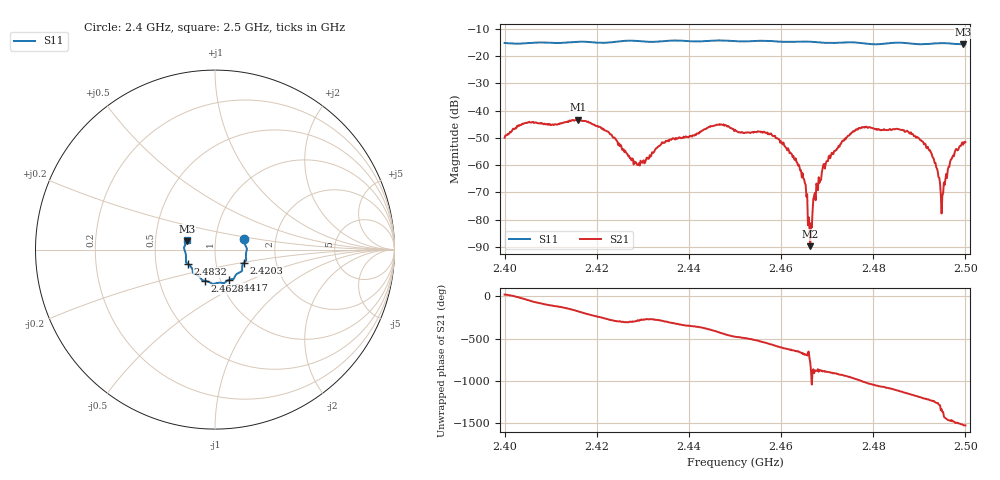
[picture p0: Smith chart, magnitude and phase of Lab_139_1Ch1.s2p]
# Hz S RI R 50
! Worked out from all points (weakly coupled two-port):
!   601 points, 2.4 GHz to 2.5 GHz, reference 50 ohm
!   highest |S21| = -43.40 dB at 2.416 GHz (marker M1); lowest = -89.8 dB at 2.4663 GHz (marker M2)
!   lowest |S11| = -15.7 dB at 2.4995 GHz (marker M3), VSWR 1.39, Z = 36.3 + j3.55 ohm
!   |S11| at or under -10 dB: start of sweep to end of sweep
!   S12 and S22 are empty: the file has one direction only
!   S11 on the Smith chart (normalised r, x): 2.4 GHz: 1.38, +0.17; 2.4203 GHz: 1.36, -0.21; 2.4417 GHz: 1.09, -0.38; 2.4628 GHz: 0.84, -0.30; 2.4832 GHz: 0.73, -0.12; 2.5 GHz: 0.73, +0.08
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2.4e9  0.163 0.0599  0.00293 0.00122  0 0  0 0
2.416e9  0.174 -0.0571  -0.00675 -0.000393  0 0  0 0
2.416667e9  0.1736 -0.0597  -0.00654 0.000933  0 0  0 0
2.420333e9  0.1596 -0.0741  -0.00235 0.00442  0 0  0 0
2.4285e9  0.1453 -0.1224  0.000446 0.00103  0 0  0 0
2.433333e9  0.1129 -0.1457  0.000451 0.00214  0 0  0 0
2.441667e9  0.0758 -0.1695  0.00378 -3.96e-05  0 0  0 0
2.45e9  0.0326 -0.1849  -0.00209 -0.00392  0 0  0 0
2.458167e9  -0.0215 -0.1866  -0.00282 0.00193  0 0  0 0
2.462833e9  -0.0569 -0.1737  0.000297 0.00125  0 0  0 0
2.464833e9  -0.068 -0.1716  0.000415 0.000389  0 0  0 0
2.466333e9  -0.0735 -0.1681  1.34e-05 -2.95e-05  0 0  0 0
2.466667e9  -0.0746 -0.167  5.96e-05 3.96e-05  0 0  0 0
2.469333e9  -0.0859 -0.153  -0.00102 -0.000264  0 0  0 0
2.473333e9  -0.1135 -0.1361  -0.0023 0.00159  0 0  0 0
2.483167e9  -0.1519 -0.0794  0.00436 -0.000528  0 0  0 0
2.483333e9  -0.1531 -0.0786  0.00434 -0.000777  0 0  0 0
2.490833e9  -0.163 -0.0247  -0.00177 -0.00196  0 0  0 0
2.495e9  -0.1726 0.0101  9.91e-05 0.000254  0 0  0 0
2.496833e9  -0.1683 0.0218  0.000951 -0.000834  0 0  0 0
2.4995e9  -0.1573 0.0477  0.000163 -0.00235  0 0  0 0
2.5e9  -0.1558 0.0534  -0.000102 -0.00265  0 0  0 0
